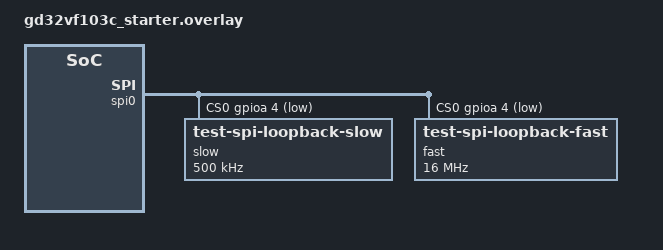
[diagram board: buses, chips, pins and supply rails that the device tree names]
/*
 * SPDX-License-Identifier: Apache-2.0
 *
 * Copyright (c) 2022 TOKITA Hiroshi <tokita.hiroshi@gmail.com>
 */

#include <dt-bindings/dma/gd32_dma.h>

&dma0 {
	status = "okay";
};

&pinctrl {
	spi0_default: spi0_default {
		group1 {
			pinmux = <SPI0_MISO_PA6_INP_NORMP>, <SPI0_SCK_PA5_OUT_NORMP>,
				 <SPI0_MOSI_PA7_OUT_NORMP>, <SPI0_NSS_PA4_OUT_NORMP>;
		};
	};
};

&spi0 {
	status = "okay";
	pinctrl-0 = <&spi0_default>;
	pinctrl-names = "default";

	cs-gpios = <&gpioa 4 GPIO_ACTIVE_LOW>;

	dmas = <&dma0 1 0>, <&dma0 2 0>;
	dma-names = "rx", "tx";

	slow@0 {
		compatible = "test-spi-loopback-slow";
		reg = <0>;
		spi-max-frequency = <500000>;
	};
	fast@0 {
		compatible = "test-spi-loopback-fast";
		reg = <0>;
		spi-max-frequency = <16000000>;
	};
};
